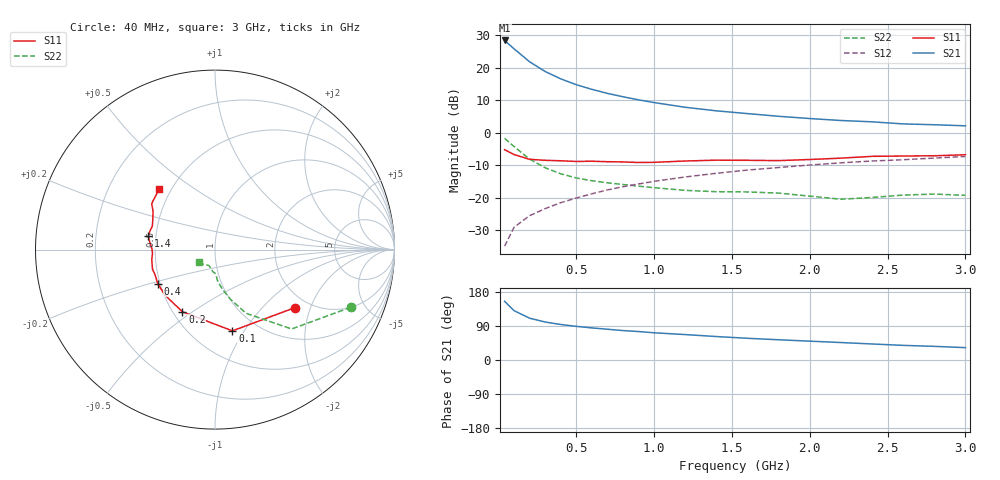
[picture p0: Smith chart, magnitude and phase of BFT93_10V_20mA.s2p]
! Filename:  BFT93G.S2P  Version:  2.0
! Philips part #: BFT93  Date: May 1990
! Bias condition: Vce=-10V, Ic=-20mA
#  MHz  S  MA  R  50
! Freq  S11  S21  S12  S22  !GUM [dB]
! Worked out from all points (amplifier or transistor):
!   21 points, 40 MHz to 3 GHz, reference 50 ohm
!   highest |S21| = 28.4 dB at 40 MHz (marker M1)
!   |S21| within 3 dB of that: start of sweep to 111.3 MHz
!   unconditionally stable (mu >= 1): 623.1 MHz to 2.751 GHz
!   at 300 MHz: K = 0.85, MSG = 21.1 dB, |S12| = -23.3 dB
!   at 1 GHz: K = 1.05, MAG = 10.8 dB, |S12| = -14.9 dB
!   at 3 GHz: K = 0.98, MSG = 4.7 dB, |S12| = -7.3 dB
!   S11 on the Smith chart (normalised r, x): 40 MHz: 1.68, -1.56; 100 MHz: 0.77, -0.89; 200 MHz: 0.56, -0.46; 400 MHz: 0.49, -0.21; 1.4 GHz: 0.45, +0.08; 3 GHz: 0.43, +0.37
40  0.549 -36.2  26.35 154.8  0.018 76.1  0.822 -23.0
100  0.463 -77.9  19.64 130.4  0.035 64.4  0.615 -46.0
200  0.391 -117.6  12.4 110.4  0.053 61.3  0.395 -64.0
300  0.377 -137.9  8.783 100.3  0.068 62.8  0.29 -72.7
400  0.371 -149.3  6.77 93.7  0.084 64.5  0.234 -78.2
500  0.362 -157.3  5.498 88.8  0.099 65.6  0.202 -81.9
600  0.365 -162.4  4.666 84.7  0.115 66.0  0.183 -84.1
700  0.359 -167.9  4.04 81.2  0.132 66.2  0.17 -85.7
800  0.356 -171.3  3.586 77.7  0.148 66.2  0.16 -86.3
900  0.349 -176.4  3.213 75.1  0.163 65.8  0.151 -86.9
1000  0.351 179.4  2.919 71.8  0.179 65.1  0.143 -87.6
1200  0.368 172.7  2.469 67.1  0.209 64.0  0.13 -90.6
1400  0.379 168.2  2.177 61.9  0.238 62.4  0.124 -95.0
1600  0.377 164.1  1.973 57.3  0.267 60.4  0.123 -96.3
1800  0.373 159.3  1.794 53.4  0.292 59.0  0.118 -97.8
2000  0.388 153.1  1.657 49.7  0.319 57.4  0.106 -101.6
2200  0.407 148.1  1.545 46.1  0.345 55.9  0.095 -111.9
2400  0.434 144.3  1.475 42.3  0.368 53.9  0.101 -125.0
2600  0.439 142.1  1.369 38.6  0.385 52.3  0.11 -132.0
2800  0.443 139.2  1.33 36.0  0.408 51.0  0.114 -135.1
3000  0.459 133.0  1.28 32.6  0.432 49.3  0.109 -142.5
